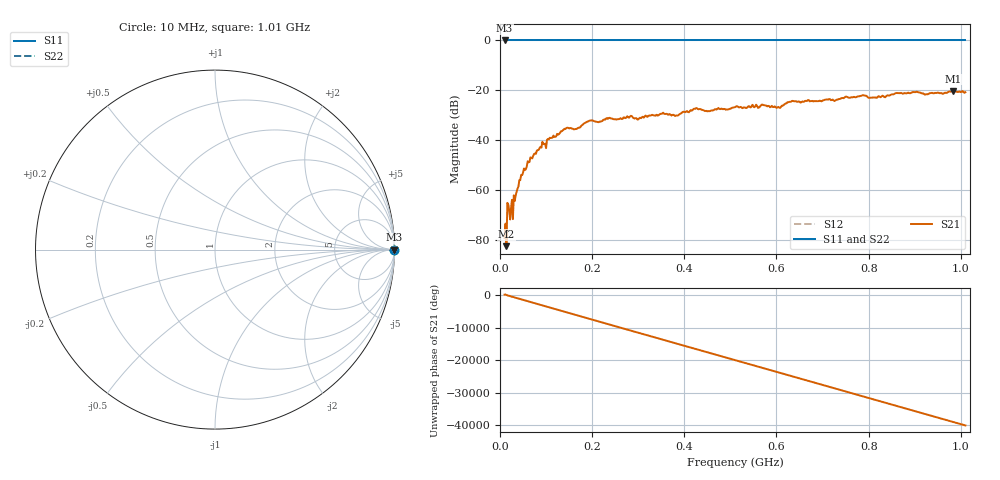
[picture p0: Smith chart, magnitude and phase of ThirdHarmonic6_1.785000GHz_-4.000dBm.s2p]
! 8/16/2025 9:34:51 PM
! C:\ANRITSUVNA\TEMP\TEMP.S2P
! CHANNEL.1
! TR.MEASUREMENT
! RAW.DATA
! RF.CORRECTION.OFF
! AVERAGING.OFF
! IF.BANDWIDTH: 5KHZ
! SWEEPTYPE:  FREQ.SWEEP(Linear)
! Reference Plane Port Info
! PORT:  PORT1  PORT2
! DISTANCE:  0  m  0  m
! TIME:  0  s  0  s
! PHASE.OFFSET:  0  deg.  0  deg.
! LOSS:  0  dB  0  dB
! REF.LOSS:  0  dB  0  dB
! REF.FREQ:  0  Hz  0  Hz
! Power Info
! POWER:  -20  dBm  -20  dBm
! EFF.POWER:  -20  dBm  -20  dBm
! SOURCE.ATTEN:  0  dB  0  dB
! TEST.ATTEN:  0  dB  0  dB
# GHZ S RI R 50.0
! FREQ.GHZ  S11RE  S11IM  S21RE  S21IM  S12RE  S12IM  S22RE  S22IM
!; PortSelection: Port_12
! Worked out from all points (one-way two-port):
!   501 points, 10 MHz to 1.01 GHz, reference 50 ohm
!   highest |S21| = -20.32 dB at 984 MHz (marker M1); lowest = -82.7 dB at 14 MHz (marker M2)
!   lowest |S11| = 0.0 dB at 10 MHz (marker M3)
!   |S11| at or under -10 dB: nowhere
!   |S22| runs from 0.0 to 0.0 dB; largest |S21 - S12| = 1.1
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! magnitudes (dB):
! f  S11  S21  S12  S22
! 10 MHz  0.0  -79.4  0.0  0.0
! 14 MHz  0.0  -82.7  0.0  0.0
! 20 MHz  0.0  -68.3  0.0  0.0
! 24 MHz  0.0  -67.3  0.0  0.0
! 32 MHz  0.0  -64.6  0.0  0.0
! 34 MHz  0.0  -62.3  0.0  0.0
! 46 MHz  0.0  -54.0  0.0  0.0
! 64 MHz  0.0  -48.8  0.0  0.0
! 106 MHz  0.0  -39.7  0.0  0.0
! 142 MHz  0.0  -35.6  0.0  0.0
! 178 MHz  0.0  -34.0  0.0  0.0
! 196 MHz  0.0  -32.1  0.0  0.0
! 344 MHz  0.0  -30.0  0.0  0.0
! 382 MHz  0.0  -30.2  0.0  0.0
! 424 MHz  0.0  -27.4  0.0  0.0
! 510 MHz  0.0  -26.8  0.0  0.0
! 604 MHz  0.0  -26.7  0.0  0.0
! 632 MHz  0.0  -24.6  0.0  0.0
! 678 MHz  0.0  -24.3  0.0  0.0
! 844 MHz  0.0  -22.2  0.0  0.0
! 984 MHz  0.0  -20.3  0.0  0.0
! 1.01 GHz  0.0  -20.8  0.0  0.0
